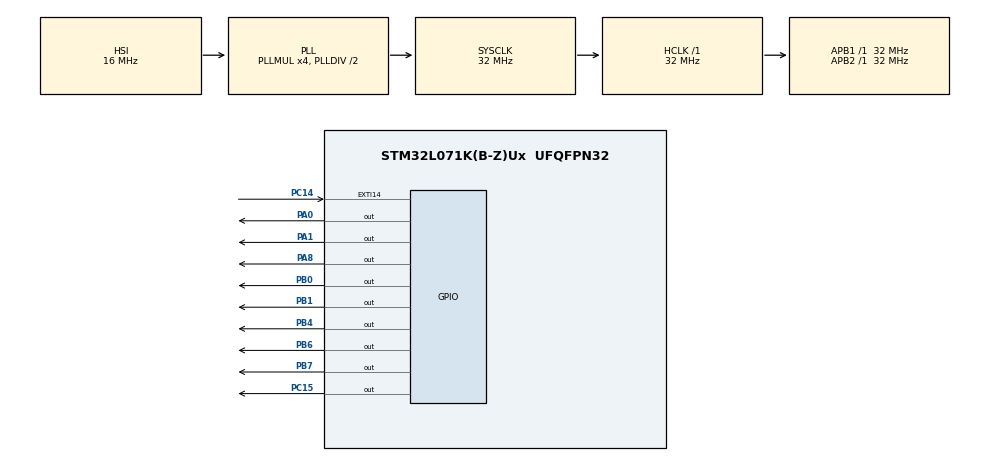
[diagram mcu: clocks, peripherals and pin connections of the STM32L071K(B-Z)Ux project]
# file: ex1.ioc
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Mcu.Family=STM32L0
Mcu.Name=STM32L071K(B-Z)Ux
Mcu.Package=UFQFPN32
NVIC.EXTI4_15_IRQn=true\:0\:0\:false\:false\:true\:true\:true
PA0.Signal=GPIO_Output
PA1.Signal=GPIO_Output
PA13.Mode=Serial_Wire
PA13.Signal=SYS_SWDIO
PA14.Mode=Serial_Wire
PA14.Signal=SYS_SWCLK
PA8.Signal=GPIO_Output
PB0.Signal=GPIO_Output
PB1.Signal=GPIO_Output
PB4.Signal=GPIO_Output
PB6.Signal=GPIO_Output
PB7.Signal=GPIO_Output
PC14-OSC32_IN.GPIO_PuPd=GPIO_PULLUP
PC14-OSC32_IN.Signal=GPXTI14
PC15-OSC32_OUT.Signal=GPIO_Output
ProjectManager.HeapSize=0x200
ProjectManager.StackSize=0x400
ProjectManager.TargetToolchain=MDK-ARM V5
RCC.AHBFreq_Value=32000000
RCC.APB1Freq_Value=32000000
RCC.APB1TimFreq_Value=32000000
RCC.APB2Freq_Value=32000000
RCC.APB2TimFreq_Value=32000000
RCC.HCLKFreq_Value=32000000
RCC.HSI16_VALUE=16000000
RCC.HSI_VALUE=16000000
RCC.LSE_VALUE=32768
RCC.MSI_VALUE=2097000
RCC.PLLMUL=RCC_PLLMUL_4
RCC.SYSCLKFreq_VALUE=32000000
RCC.SYSCLKSource=RCC_SYSCLKSOURCE_PLLCLK
RCC.VCOOutputFreq_Value=64000000
board=custom

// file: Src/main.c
/* USER CODE BEGIN Header */
/**
  ******************************************************************************
  * @file           : main.c
  * @brief          : Main program body
  ******************************************************************************
  * @attention
  *
  * <h2><center>&copy; Copyright (c) 2019 STMicroelectronics.
  * All rights reserved.</center></h2>
  *
  * This software component is licensed by ST under BSD 3-Clause license,
  * the "License"; You may not use this file except in compliance with the
  * License. You may obtain a copy of the License at:
  *                        opensource.org/licenses/BSD-3-Clause
  *
  ******************************************************************************
  */
/* USER CODE END Header */

#include "main.h"
#include "gpio.h"

/* USER CODE BEGIN Includes */
#include "temperature.h"
#include "stm32l0xx_hal.h"
#include "zm4xx_gpio.h"
#include "spi.h"
#include "timer.h"
#include "stddef.h"
#include "sx127x_lora.h"
#include "temperature.h"
#include "oled.h"
/* USER CODE END Includes */

/* USER CODE BEGIN PTD */
uint16_t len = 0;
		uint8_t rx[50];
		uint8_t tx[50]="12346";
		uint8_t cntr = 0;
		int ret = RADIO_RET_OK;
		float a;
		int key;
	unsigned int event_flag=0,reply_flag=0, send_flag=0;
/* USER CODE END PTD */

/* USER CODE BEGIN PV */
	#define FREQ  (433000000)
	void Hardware_Init(void);
	radio_handle_t  handle;
/* USER CODE END PV */

void SystemClock_Config(void);

/* USER CODE BEGIN 0 */
void Task_BrdInit(void)
{
    HAL_GPIO_WritePin(GPIOC, GPIO_PIN_15, GPIO_PIN_SET);

    OLED_PowerControl(ENABLE);

    HAL_Delay(200);
    OLED_Init();
    OLED_Clear();

    OLED_ShowString(0, 0, (unsigned char *)"                ", 16);
    OLED_ShowString(0, 2, (unsigned char *)"                ", 16);
}

void LoRa_Init(void)
{

	handle = radio_zm4xx_inst_init(spi_recv_byte,spi_send_byte,zm4xx_rst_pin_set,zm4xx_sel_pin_set,delay_ms,delay_us);

	if(handle != NULL){
		if(RADIO_RET_OK == radio_freq_set(handle, FREQ)){
				HAL_GPIO_WritePin(GPIOC, GPIO_PIN_15,GPIO_PIN_RESET);
		}

		radio_mode_set(handle, RX_MODE);	//Receive Mode
	}
}
void terminal(void);
/* USER CODE END 0 */

int main(void)
{
  /* USER CODE BEGIN 1 */
    char lcdLine_1st_line[16];
    char lcdLine_2st_line[16]="132";

  /* USER CODE END 1 */

  /* MCU Configuration--------------------------------------------------------*/

  /* Reset of all peripherals, Initializes the Flash interface and the Systick. */
  HAL_Init();

  /* Configure the system clock */
  SystemClock_Config();

  /* Initialize all configured peripherals */
  MX_GPIO_Init();
  /* USER CODE BEGIN 2 */
	Task_BrdInit();
	LoRa_Init();
	zm4xx_pin_init(); //LORA��Ҫ
	spi_init();//LORA��Ҫ
	LoRa_Init();
  /* USER CODE END 2 */

  /* Infinite loop */
    while (1)
    {
			HAL_GPIO_TogglePin(GPIOB, GPIO_PIN_0);
//			HAL_GPIO_TogglePin(GPIOA, GPIO_PIN_8);
			HAL_Delay(500);

    }
}

void SystemClock_Config(void)
{
  RCC_OscInitTypeDef RCC_OscInitStruct = {0};
  RCC_ClkInitTypeDef RCC_ClkInitStruct = {0};

  /** Configure the main internal regulator output voltage
  */
  __HAL_PWR_VOLTAGESCALING_CONFIG(PWR_REGULATOR_VOLTAGE_SCALE1);
  /** Initializes the CPU, AHB and APB busses clocks
  */
  RCC_OscInitStruct.OscillatorType = RCC_OSCILLATORTYPE_HSI;
  RCC_OscInitStruct.HSIState = RCC_HSI_ON;
  RCC_OscInitStruct.HSICalibrationValue = RCC_HSICALIBRATION_DEFAULT;
  RCC_OscInitStruct.PLL.PLLState = RCC_PLL_ON;
  RCC_OscInitStruct.PLL.PLLSource = RCC_PLLSOURCE_HSI;
  RCC_OscInitStruct.PLL.PLLMUL = RCC_PLLMUL_4;
  RCC_OscInitStruct.PLL.PLLDIV = RCC_PLLDIV_2;
  if (HAL_RCC_OscConfig(&RCC_OscInitStruct) != HAL_OK)
  {
    Error_Handler();
  }
  /** Initializes the CPU, AHB and APB busses clocks
  */
  RCC_ClkInitStruct.ClockType = RCC_CLOCKTYPE_HCLK|RCC_CLOCKTYPE_SYSCLK
                              |RCC_CLOCKTYPE_PCLK1|RCC_CLOCKTYPE_PCLK2;
  RCC_ClkInitStruct.SYSCLKSource = RCC_SYSCLKSOURCE_PLLCLK;
  RCC_ClkInitStruct.AHBCLKDivider = RCC_SYSCLK_DIV1;
  RCC_ClkInitStruct.APB1CLKDivider = RCC_HCLK_DIV1;
  RCC_ClkInitStruct.APB2CLKDivider = RCC_HCLK_DIV1;

  if (HAL_RCC_ClockConfig(&RCC_ClkInitStruct, FLASH_LATENCY_1) != HAL_OK)
  {
    Error_Handler();
  }
}

/* USER CODE BEGIN 4 */
void terminal()
{
	radio_mode_set(handle, RX_MODE);
	ret = radio_buf_recv(handle,rx,&len);
	if(ret == RADIO_RET_OK)
	{
		HAL_GPIO_TogglePin(GPIOA, GPIO_PIN_0);
	}
}
void HAL_GPIO_EXTI_Callback(uint16_t GPIO_Pin)
{
	if(GPIO_Pin==GPIO_PIN_10)
	{
//		terminal();
	}
	if(GPIO_Pin==GPIO_PIN_14)
	{
		HAL_GPIO_TogglePin(GPIOC, GPIO_PIN_15);
		radio_buf_send(handle, tx, sizeof(tx));
	}
}
//			ret = radio_buf_recv(handle, &rx, &len);
//			if(ret == RADIO_RET_OK){
//				ret = -1;
//				if(rx == 0x55){
//						HAL_GPIO_TogglePin(GPIOC, GPIO_PIN_15);
//				}
//			}
//
//			if(++cntr == 40){
//				radio_buf_send(handle, &tx, 1); 	//
//				radio_mode_set(handle, RX_MODE);
//				cntr = 0;
//			}
/* USER CODE END 4 */

void Error_Handler(void)
{
}

/************************ (C) COPYRIGHT STMicroelectronics *****END OF FILE****/
